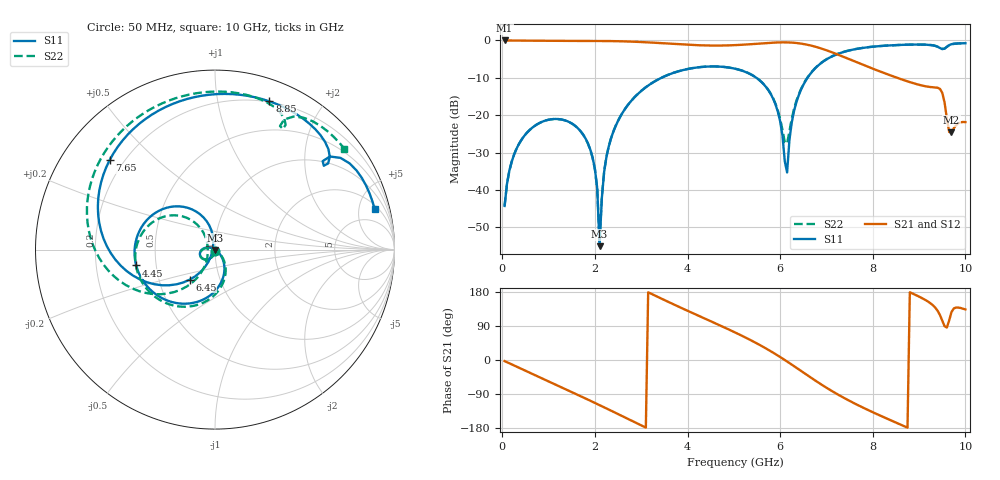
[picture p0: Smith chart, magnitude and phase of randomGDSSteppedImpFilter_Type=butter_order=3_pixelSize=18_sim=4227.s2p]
! freq	dB(S11)	phase(S11)	dB(S12)	phase(S12)
!  dB(S21)	phase(S21)	dB(S22)	phase(S22)
!S-par simulation data
#  GHz  S  DB  R 50
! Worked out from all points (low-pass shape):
!   200 points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, 50 MHz to 10 GHz, reference 50 ohm
!   highest |S21| = 0.00 dB at 50 MHz (marker M1); lowest = -24.6 dB at 9.7 GHz (marker M2)
!   |S21| within 3 dB of the highest: start of sweep to 7.083 GHz
!   lowest |S11| = -55.0 dB at 2.1 GHz (marker M3), VSWR 1.00, Z = 49.9 - j0.157 ohm
!   |S11| at or under -10 dB: start of sweep to 3.434 GHz; 5.487 GHz to 6.591 GHz (1.104 GHz wide, 18.3 % of centre)
!   |S22| runs from -53.7 to -0.8 dB; largest |S21 - S12| = 0
!   S11 on the Smith chart (normalised r, x): 50 MHz: 1.00, -0.01; 4.45 GHz: 0.38, -0.09; 6.45 GHz: 0.72, -0.25; 7.65 GHz: 0.15, +0.36; 8.85 GHz: 0.19, +1.42; 10 GHz: 2.53, +7.19
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0.05  -44.26 -89.9  -0.00 -2.9  -0.00 -2.9  -44.26 -89.8
0.25  -30.67 -103.9  -0.03 -14.2  -0.03 -14.2  -30.67 -103.6
0.6  -23.84 -124.7  -0.06 -33.9  -0.06 -33.9  -23.84 -123.9
1.75  -25.25 169.3  -0.13 -98.8  -0.13 -98.8  -25.28 172.0
2  -34.38 154.8  -0.14 -113.2  -0.14 -113.2  -34.48 159.0
2.1  -55.01 -117.4  -0.14 -119.1  -0.14 -119.1  -53.72 -127.8
2.2  -35.06 -37.6  -0.15 -124.9  -0.15 -124.9  -34.92 -36.4
2.4  -24.33 -49.3  -0.18 -136.7  -0.18 -136.7  -24.28 -46.6
3.4  -10.21 -109.1  -0.71 164.0  -0.71 164.0  -10.19 -104.1
4.45  -6.98 -168.6  -1.35 105.1  -1.35 105.1  -6.96 -160.8
5.05  -7.63 157.3  -1.24 71.3  -1.24 71.3  -7.61 167.5
5.85  -15.63 106.5  -0.59 19.2  -0.59 19.2  -15.49 125.3
6.15  -35.30 -149.8  -0.53 -3.9  -0.53 -3.9  -27.62 -161.8
6.25  -21.95 -118.5  -0.58 -12.1  -0.58 -12.1  -20.94 -124.2
6.45  -13.18 -130.1  -0.84 -28.7  -0.84 -28.7  -12.99 -124.7
6.7  -8.22 -150.2  -1.48 -49.5  -1.48 -49.5  -8.13 -140.6
7.65  -2.27 139.7  -5.81 -117.3  -5.81 -117.3  -2.25 156.0
8.35  -1.34 97.7  -9.20 -157.0  -9.20 -157.0  -1.34 117.5
8.85  -1.11 69.8  -11.33 175.9  -11.33 175.9  -1.11 91.7
9.45  -2.02 37.3  -12.95 118.9  -12.95 118.9  -1.95 60.5
9.7  -1.01 32.6  -24.59 126.7  -24.59 126.7  -1.06 56.1
10  -0.75 14.1  -21.84 133.4  -21.84 133.4  -0.78 38.0
